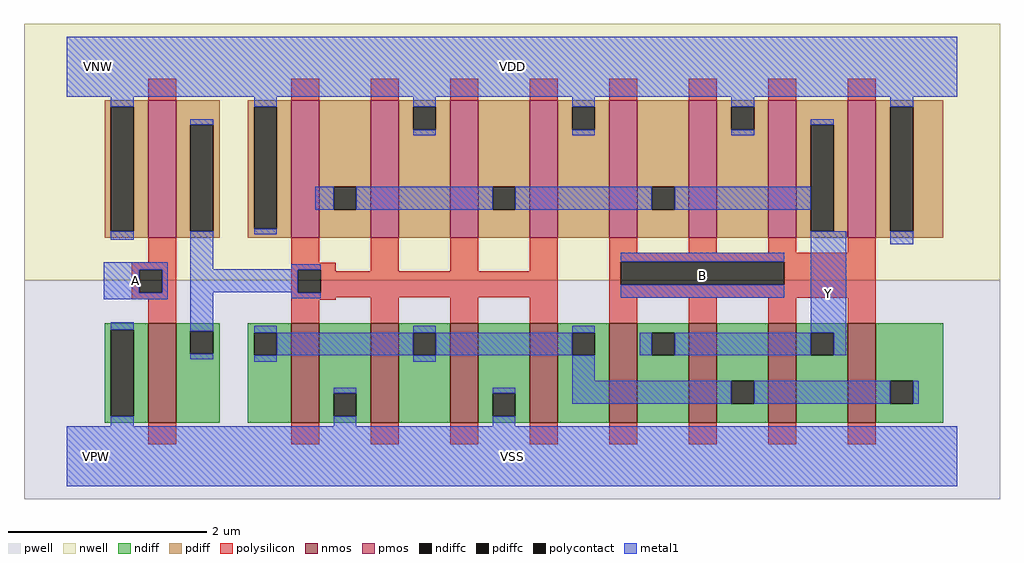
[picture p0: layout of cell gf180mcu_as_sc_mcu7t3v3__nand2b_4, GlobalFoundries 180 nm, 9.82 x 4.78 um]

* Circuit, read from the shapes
.subckt gf180mcu_as_sc_mcu7t3v3__nand2b_4 VDD VNW VPW VSS Y A B
XM1 n1 A VSS VPW nfet_03v3 w=1u l=0.28u
XM2 VSS n1 n2 VPW nfet_03v3 w=1u l=0.28u m=4
XM3 Y B n2 VPW nfet_03v3 w=1u l=0.28u m=4
XM4 n1 A VDD VNW pfet_03v3 w=1.38u l=0.28u
XM5 Y n1 VDD VNW pfet_03v3 w=1.38u l=0.28u m=4
XM6 Y B VDD VNW pfet_03v3 w=1.38u l=0.28u m=4
.ends

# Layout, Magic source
magic
tech gf180mcuD
magscale 1 10
<< nwell >>
rect -86 354 1878 870
<< pwell >>
rect -86 -86 1878 354
<< nmos >>
rect 164 68 220 268
rect 452 68 508 268
rect 612 68 668 268
rect 772 68 828 268
rect 932 68 988 268
rect 1092 68 1148 268
rect 1252 68 1308 268
rect 1412 68 1468 268
rect 1572 68 1628 268
<< pmos >>
rect 164 440 220 716
rect 452 440 508 716
rect 612 440 668 716
rect 772 440 828 716
rect 932 440 988 716
rect 1092 440 1148 716
rect 1252 440 1308 716
rect 1412 440 1468 716
rect 1572 440 1628 716
<< ndiff >>
rect 76 255 164 268
rect 76 81 89 255
rect 135 81 164 255
rect 76 68 164 81
rect 220 252 308 268
rect 220 206 249 252
rect 295 206 308 252
rect 220 68 308 206
rect 364 249 452 268
rect 364 203 377 249
rect 423 203 452 249
rect 364 68 452 203
rect 508 127 612 268
rect 508 81 537 127
rect 583 81 612 127
rect 508 68 612 81
rect 668 249 772 268
rect 668 203 697 249
rect 743 203 772 249
rect 668 68 772 203
rect 828 127 932 268
rect 828 81 857 127
rect 903 81 932 127
rect 828 68 932 81
rect 988 249 1092 268
rect 988 203 1017 249
rect 1063 203 1092 249
rect 988 68 1092 203
rect 1148 249 1252 268
rect 1148 203 1177 249
rect 1223 203 1252 249
rect 1148 68 1252 203
rect 1308 152 1412 268
rect 1308 106 1337 152
rect 1383 106 1412 152
rect 1308 68 1412 106
rect 1468 249 1572 268
rect 1468 203 1497 249
rect 1543 203 1572 249
rect 1468 68 1572 203
rect 1628 152 1764 268
rect 1628 106 1657 152
rect 1703 106 1764 152
rect 1628 68 1764 106
<< pdiff >>
rect 76 703 164 716
rect 76 453 89 703
rect 135 453 164 703
rect 76 440 164 453
rect 220 667 308 716
rect 220 453 249 667
rect 295 453 308 667
rect 220 440 308 453
rect 364 703 452 716
rect 364 458 377 703
rect 423 458 452 703
rect 364 440 452 458
rect 508 542 612 716
rect 508 496 537 542
rect 583 496 612 542
rect 508 440 612 496
rect 668 703 772 716
rect 668 657 697 703
rect 743 657 772 703
rect 668 440 772 657
rect 828 542 932 716
rect 828 496 857 542
rect 903 496 932 542
rect 828 440 932 496
rect 988 703 1092 716
rect 988 657 1017 703
rect 1063 657 1092 703
rect 988 440 1092 657
rect 1148 542 1252 716
rect 1148 496 1177 542
rect 1223 496 1252 542
rect 1148 440 1252 496
rect 1308 703 1412 716
rect 1308 657 1337 703
rect 1383 657 1412 703
rect 1308 440 1412 657
rect 1468 667 1572 716
rect 1468 453 1497 667
rect 1543 453 1572 667
rect 1468 440 1572 453
rect 1628 703 1764 716
rect 1628 453 1657 703
rect 1703 453 1764 703
rect 1628 440 1764 453
<< ndiffc >>
rect 89 81 135 255
rect 249 206 295 252
rect 377 203 423 249
rect 537 81 583 127
rect 697 203 743 249
rect 857 81 903 127
rect 1017 203 1063 249
rect 1177 203 1223 249
rect 1337 106 1383 152
rect 1497 203 1543 249
rect 1657 106 1703 152
<< pdiffc >>
rect 89 453 135 703
rect 249 453 295 667
rect 377 458 423 703
rect 537 496 583 542
rect 697 657 743 703
rect 857 496 903 542
rect 1017 657 1063 703
rect 1177 496 1223 542
rect 1337 657 1383 703
rect 1497 453 1543 667
rect 1657 453 1703 703
<< polysilicon >>
rect 164 716 220 760
rect 452 716 508 760
rect 612 716 668 760
rect 772 716 828 760
rect 932 716 988 760
rect 1092 716 1148 760
rect 1252 716 1308 760
rect 1412 716 1468 760
rect 1572 716 1628 760
rect 164 390 220 440
rect 131 375 220 390
rect 131 329 146 375
rect 192 329 220 375
rect 131 316 220 329
rect 164 268 220 316
rect 452 389 508 440
rect 452 375 541 389
rect 452 329 465 375
rect 511 372 541 375
rect 612 372 668 440
rect 772 372 828 440
rect 932 372 988 440
rect 511 329 988 372
rect 452 320 988 329
rect 452 315 541 320
rect 452 268 508 315
rect 612 268 668 320
rect 772 268 828 320
rect 932 268 988 320
rect 1092 410 1148 440
rect 1252 410 1308 440
rect 1412 410 1468 440
rect 1572 410 1628 440
rect 1092 391 1628 410
rect 1092 345 1115 391
rect 1444 345 1628 391
rect 1092 319 1628 345
rect 1092 268 1148 319
rect 1252 268 1308 319
rect 1412 268 1468 319
rect 1572 268 1628 319
rect 164 24 220 68
rect 452 24 508 68
rect 612 24 668 68
rect 772 24 828 68
rect 932 24 988 68
rect 1092 24 1148 68
rect 1252 24 1308 68
rect 1412 24 1468 68
rect 1572 24 1628 68
<< polycontact >>
rect 146 329 192 375
rect 465 329 511 375
rect 1115 345 1444 391
<< metal1 >>
rect 0 724 1792 844
rect 89 703 135 724
rect 377 703 423 724
rect 89 436 135 453
rect 249 667 295 678
rect 74 375 203 390
rect 74 329 146 375
rect 192 329 203 375
rect 74 316 203 329
rect 249 376 295 453
rect 697 703 743 724
rect 697 646 743 657
rect 1017 703 1063 724
rect 1017 646 1063 657
rect 1337 703 1383 724
rect 1657 703 1703 724
rect 1337 646 1383 657
rect 1497 667 1543 678
rect 500 496 537 542
rect 583 496 857 542
rect 903 496 1177 542
rect 1223 496 1497 542
rect 377 447 423 458
rect 1115 391 1444 410
rect 452 376 511 386
rect 249 375 511 376
rect 249 330 465 375
rect 89 255 135 270
rect 249 252 295 330
rect 452 329 465 330
rect 452 318 511 329
rect 1115 319 1444 345
rect 249 195 295 206
rect 377 249 423 263
rect 697 249 743 263
rect 1017 249 1063 263
rect 1497 249 1569 453
rect 1657 427 1703 453
rect 423 203 697 249
rect 743 203 1017 249
rect 1153 203 1177 249
rect 1223 203 1497 249
rect 1543 203 1569 249
rect 377 190 423 203
rect 697 190 743 203
rect 1017 152 1063 203
rect 89 60 135 81
rect 537 127 583 138
rect 537 60 583 81
rect 857 127 903 138
rect 1017 106 1337 152
rect 1383 106 1657 152
rect 1703 106 1714 152
rect 857 60 903 81
rect 0 -60 1792 60
<< labels >>
flabel metal1 s 0 724 1792 844 0 FreeSans 400 0 0 0 VDD
port 1 nsew power bidirectional abutment
flabel metal1 s 0 -60 1792 60 0 FreeSans 400 0 0 0 VSS
port 4 nsew ground bidirectional abutment
flabel pwell s 10 -50 110 50 0 FreeSans 400 0 0 0 VPW
port 3 nsew ground bidirectional
flabel nwell s 13 734 113 834 0 FreeSans 400 0 0 0 VNW
port 2 nsew power bidirectional
flabel metal1 1497 203 1569 453 0 FreeSans 200 0 0 0 Y
port 5 nsew signal output
flabel metal1 1115 319 1444 410 0 FreeSans 200 0 0 0 B
port 7 nsew signal input
flabel metal1 74 316 203 390 0 FreeSans 200 0 0 0 A
port 6 nsew signal input
<< properties >>
string FIXED_BBOX 0 0 1792 784
string LEFclass CORE
string LEFsite unithd
string LEFsymmetry X Y
string MASKHINTS_NPLUS -16 -46 1808 354
string MASKHINTS_PPLUS -16 354 1808 830
<< end >>
